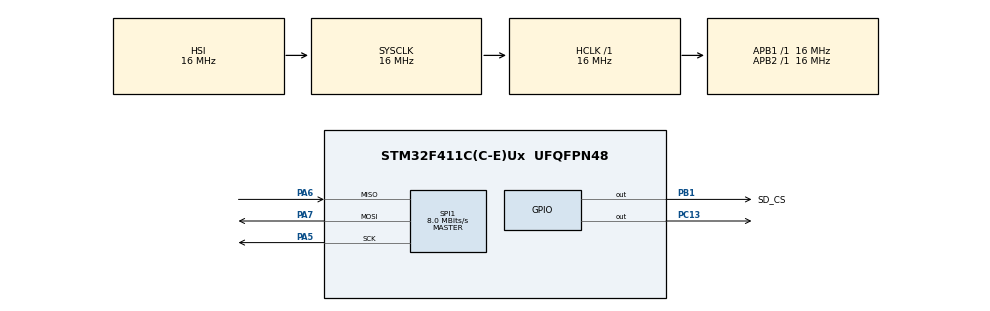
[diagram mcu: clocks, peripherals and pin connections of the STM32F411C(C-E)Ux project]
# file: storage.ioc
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Mcu.Family=STM32F4
Mcu.Name=STM32F411C(C-E)Ux
Mcu.Package=UFQFPN48
NVIC.PriorityGroup=NVIC_PRIORITYGROUP_4
PA5.Mode=Full_Duplex_Master
PA5.Signal=SPI1_SCK
PA6.Mode=Full_Duplex_Master
PA6.Signal=SPI1_MISO
PA7.Mode=Full_Duplex_Master
PA7.Signal=SPI1_MOSI
PB1.GPIO_Label=SD_CS
PB1.Signal=GPIO_Output
PC13-ANTI_TAMP.Signal=GPIO_Output
ProjectManager.HeapSize=0x200
ProjectManager.StackSize=0x400
ProjectManager.TargetToolchain=STM32CubeIDE
RCC.AHBFreq_Value=16000000
RCC.APB1Freq_Value=16000000
RCC.APB2Freq_Value=16000000
RCC.CortexFreq_Value=16000000
RCC.HSE_VALUE=25000000
RCC.HSI_VALUE=16000000
RCC.LSE_VALUE=32768
RCC.SYSCLKFreq_VALUE=16000000
RCC.VCOOutputFreq_Value=192000000
SPI1.CalculateBaudRate=8.0 MBits/s
SPI1.Direction=SPI_DIRECTION_2LINES
SPI1.Mode=SPI_MODE_MASTER
SPI1.VirtualType=VM_MASTER
VP_FATFS_VS_Generic.Mode=User_defined
board=custom

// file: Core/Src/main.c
/* USER CODE BEGIN Header */
/**
  ******************************************************************************
  * @file           : main.c
  * @brief          : Main program body
  ******************************************************************************
  * @attention
  *
  * <h2><center>&copy; Copyright (c) 2022 STMicroelectronics.
  * All rights reserved.</center></h2>
  *
  * This software component is licensed by ST under BSD 3-Clause license,
  * the "License"; You may not use this file except in compliance with the
  * License. You may obtain a copy of the License at:
  *                        opensource.org/licenses/BSD-3-Clause
  *
  ******************************************************************************
  */
/* USER CODE END Header */
#include "main.h"
#include "fatfs.h"

/* USER CODE BEGIN Includes */
#include <stdio.h>
#include <string.h>
#include <stdarg.h>
/* USER CODE END Includes */

SPI_HandleTypeDef hspi1;

void SystemClock_Config(void);
static void MX_GPIO_Init(void);
static void MX_SPI1_Init(void);

int main(void)
{
  /* USER CODE BEGIN 1 */
	  FATFS FatFs;
	  FIL fil;
	  FRESULT fres;
  /* USER CODE END 1 */

  /* MCU Configuration--------------------------------------------------------*/

  /* Reset of all peripherals, Initializes the Flash interface and the Systick. */
  HAL_Init();

  /* Configure the system clock */
  SystemClock_Config();

  /* Initialize all configured peripherals */
  MX_GPIO_Init();
  MX_SPI1_Init();
  MX_FATFS_Init();
  /* USER CODE BEGIN 2 */
  HAL_Delay(1000);
    fres = f_mount(&FatFs, "", 1);
    if(fres != FR_OK){
    	while(1){
    		HAL_GPIO_TogglePin(GPIOC,GPIO_PIN_13);
    		HAL_Delay(1000);
    	}

    }
    HAL_Delay(1000);
    fres = f_open(&fil, "test.txt", FA_WRITE | FA_OPEN_ALWAYS | FA_CREATE_ALWAYS);
    if(fres  != FR_OK){
  	   while(1){
  		  HAL_GPIO_TogglePin(GPIOC, GPIO_PIN_13);
  		  HAL_Delay(200);
  	   }
    }
    BYTE readBuf[31];
    UINT bytesWrote;
    strncpy((char*)readBuf, "This is a test message\n", 30);
    HAL_Delay(1000);
    fres = f_write(&fil, readBuf, 30, &bytesWrote);
    for(int x = 1; x<1000; x++){
    	fres = f_write(&fil, readBuf, 30, &bytesWrote);

    }
    f_close(&fil);

    fres = f_open(&fil, "simple.txt", FA_READ);
    if(fres  != FR_OK){
  	   while(1){
  		  HAL_GPIO_TogglePin(GPIOC, GPIO_PIN_13);
  		  HAL_Delay(200);
  	   }
    }
    UINT blink = 0;
    TCHAR* rres = f_gets((TCHAR*)readBuf, 30, &fil);
    if(rres != 0){
    	blink = (UINT)readBuf[0]-48;
    	for(int x = 0; x < blink; x++){
    		  HAL_GPIO_TogglePin(GPIOC, GPIO_PIN_13);
    		  HAL_Delay(1000);
      		  HAL_GPIO_TogglePin(GPIOC, GPIO_PIN_13);
      		  HAL_Delay(1000);
    	}
    }
    f_close(&fil);

    f_mount(NULL, "", 0);
  /* USER CODE END 2 */

  /* Infinite loop */
  while (1)
  {
		 // HAL_GPIO_TogglePin(GPIOC, GPIO_PIN_13);
		 HAL_Delay(5000);
  }
}

void SystemClock_Config(void)
{
  RCC_OscInitTypeDef RCC_OscInitStruct = {0};
  RCC_ClkInitTypeDef RCC_ClkInitStruct = {0};

  /** Configure the main internal regulator output voltage
  */
  __HAL_RCC_PWR_CLK_ENABLE();
  __HAL_PWR_VOLTAGESCALING_CONFIG(PWR_REGULATOR_VOLTAGE_SCALE1);
  /** Initializes the RCC Oscillators according to the specified parameters
  * in the RCC_OscInitTypeDef structure.
  */
  RCC_OscInitStruct.OscillatorType = RCC_OSCILLATORTYPE_HSI;
  RCC_OscInitStruct.HSIState = RCC_HSI_ON;
  RCC_OscInitStruct.HSICalibrationValue = RCC_HSICALIBRATION_DEFAULT;
  RCC_OscInitStruct.PLL.PLLState = RCC_PLL_NONE;
  if (HAL_RCC_OscConfig(&RCC_OscInitStruct) != HAL_OK)
  {
    Error_Handler();
  }
  /** Initializes the CPU, AHB and APB buses clocks
  */
  RCC_ClkInitStruct.ClockType = RCC_CLOCKTYPE_HCLK|RCC_CLOCKTYPE_SYSCLK
                              |RCC_CLOCKTYPE_PCLK1|RCC_CLOCKTYPE_PCLK2;
  RCC_ClkInitStruct.SYSCLKSource = RCC_SYSCLKSOURCE_HSI;
  RCC_ClkInitStruct.AHBCLKDivider = RCC_SYSCLK_DIV1;
  RCC_ClkInitStruct.APB1CLKDivider = RCC_HCLK_DIV1;
  RCC_ClkInitStruct.APB2CLKDivider = RCC_HCLK_DIV1;

  if (HAL_RCC_ClockConfig(&RCC_ClkInitStruct, FLASH_LATENCY_0) != HAL_OK)
  {
    Error_Handler();
  }
}

static void MX_SPI1_Init(void)
{

  /* SPI1 parameter configuration*/
  hspi1.Instance = SPI1;
  hspi1.Init.Mode = SPI_MODE_MASTER;
  hspi1.Init.Direction = SPI_DIRECTION_2LINES;
  hspi1.Init.DataSize = SPI_DATASIZE_8BIT;
  hspi1.Init.CLKPolarity = SPI_POLARITY_LOW;
  hspi1.Init.CLKPhase = SPI_PHASE_1EDGE;
  hspi1.Init.NSS = SPI_NSS_SOFT;
  hspi1.Init.BaudRatePrescaler = SPI_BAUDRATEPRESCALER_2;
  hspi1.Init.FirstBit = SPI_FIRSTBIT_MSB;
  hspi1.Init.TIMode = SPI_TIMODE_DISABLE;
  hspi1.Init.CRCCalculation = SPI_CRCCALCULATION_DISABLE;
  hspi1.Init.CRCPolynomial = 10;
  if (HAL_SPI_Init(&hspi1) != HAL_OK)
  {
    Error_Handler();
  }

}

static void MX_GPIO_Init(void)
{
  GPIO_InitTypeDef GPIO_InitStruct = {0};

  /* GPIO Ports Clock Enable */
  __HAL_RCC_GPIOC_CLK_ENABLE();
  __HAL_RCC_GPIOA_CLK_ENABLE();
  __HAL_RCC_GPIOB_CLK_ENABLE();

  /*Configure GPIO pin Output Level */
  HAL_GPIO_WritePin(GPIOC, GPIO_PIN_13, GPIO_PIN_RESET);

  /*Configure GPIO pin Output Level */
  HAL_GPIO_WritePin(SD_CS_GPIO_Port, SD_CS_Pin, GPIO_PIN_RESET);

  /*Configure GPIO pin : PC13 */
  GPIO_InitStruct.Pin = GPIO_PIN_13;
  GPIO_InitStruct.Mode = GPIO_MODE_OUTPUT_PP;
  GPIO_InitStruct.Pull = GPIO_NOPULL;
  GPIO_InitStruct.Speed = GPIO_SPEED_FREQ_LOW;
  HAL_GPIO_Init(GPIOC, &GPIO_InitStruct);

  /*Configure GPIO pin : SD_CS_Pin */
  GPIO_InitStruct.Pin = SD_CS_Pin;
  GPIO_InitStruct.Mode = GPIO_MODE_OUTPUT_PP;
  GPIO_InitStruct.Pull = GPIO_NOPULL;
  GPIO_InitStruct.Speed = GPIO_SPEED_FREQ_LOW;
  HAL_GPIO_Init(SD_CS_GPIO_Port, &GPIO_InitStruct);

}

void Error_Handler(void)
{
  __disable_irq();
  while (1)
  {
  }
}

/************************ (C) COPYRIGHT STMicroelectronics *****END OF FILE****/
